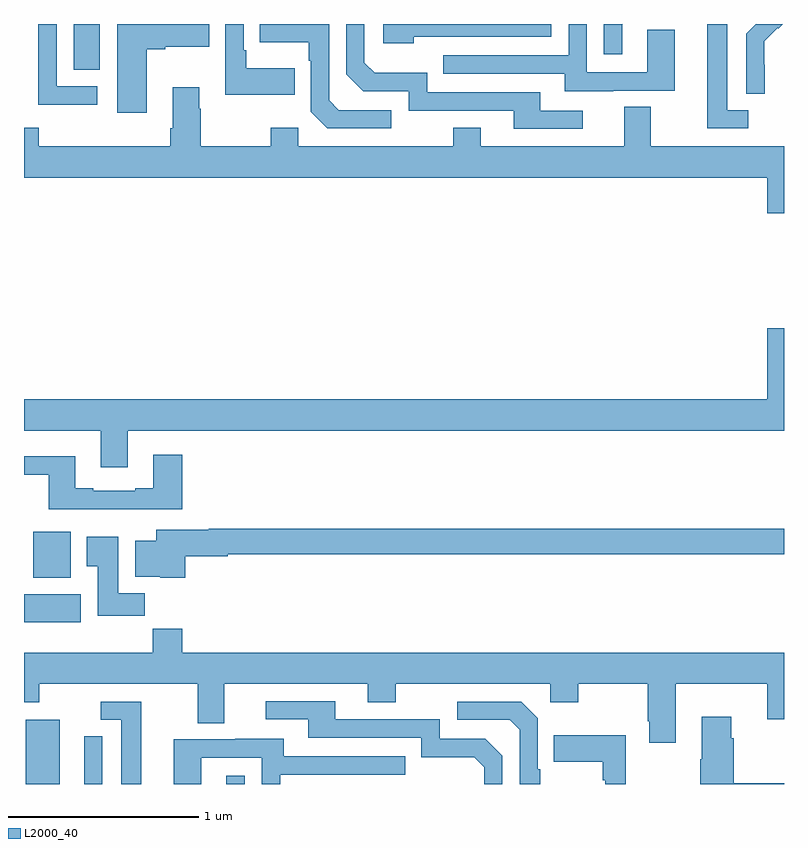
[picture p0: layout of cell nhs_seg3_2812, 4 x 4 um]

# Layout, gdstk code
import gdstk
lib = gdstk.Library(unit=1e-6, precision=1e-09)
def R(c, l, rs):  # rectangles x0, y0, x1, y1
    for r in rs: c.add(gdstk.rectangle(r[:2], r[2:], *l))
def P(c, l, *ps):  # polygons
    for p in ps: c.add(gdstk.Polygon(p, *l))
L2000_40 = (2000, 40)

nhs_seg3_2812 = lib.new_cell('nhs_seg3_2812')
R(nhs_seg3_2812, L2000_40, [(257.009,688.4,257.188,688.738), (258.065,688.4,258.162,688.444), (257,689.252,257.299,689.398), (257.048,689.486,257.245,689.728), (257.261,692.158,257.398,692.4)])
P(nhs_seg3_2812, L2000_40, [(260.812,691.947),(260.701,691.947),(260.701,692.4),(260.597,692.4),(260.597,691.851),(260.812,691.851)],
  [(260.149,692.397),(260.152,692.4),(260.052,692.4),(260.052,692.241),(260.149,692.241)],
  [(260.101,692.049),(260.425,692.049),(260.425,692.369),(260.28,692.369),(260.28,692.145),(259.962,692.145),(259.962,692.4),(259.866,692.4),(259.866,692.235),(259.207,692.235),(259.207,692.139),(259.847,692.139),(259.847,692.045),(260.101,692.045)],
  [(258.425,692.167),(258.169,692.167),(258.169,692.263),(258.156,692.263),(258.156,692.4),(258.06,692.4),(258.06,692.027),(258.425,692.027)],
  [(259.942,691.944),(259.717,691.944),(259.717,692.04),(259.122,692.04),(259.122,692.143),(258.845,692.143),(258.792,692.196),(258.792,692.4),(258.696,692.4),(258.696,692.136),(258.786,692.046),(259.026,692.046),(259.026,691.944),(259.577,691.944),(259.577,691.848),(259.942,691.848)],
  [(258.934,691.947),(258.657,691.947),(258.606,691.998),(258.606,692.4),(258.241,692.4),(258.241,692.303),(258.498,692.303),(258.498,692.207),(258.51,692.207),(258.51,691.938),(258.597,691.851),(258.934,691.851)],
  [(257.647,692.267),(257.743,692.267),(257.743,692.279),(257.974,692.279),(257.974,692.4),(257.492,692.4),(257.492,691.932),(257.647,691.932)],
  [(260.898,692.186),(260.897,692.186),(260.897,692.309),(260.967,692.379),(260.97,692.376),(260.994,692.4),(260.852,692.4),(260.802,692.35),(260.802,692.032),(260.898,692.032)],
  [(257.386,692.073),(257.172,692.073),(257.172,692.4),(257.076,692.4),(257.076,691.975),(257.386,691.975)],
  [(259.052,692.334),(259.776,692.334),(259.776,692.4),(258.891,692.4),(258.891,692.3),(259.052,692.3)],
  [(261,691.756),(260.299,691.756),(260.299,691.964),(260.159,691.964),(260.159,691.756),(259.405,691.756),(259.405,691.855),(259.258,691.855),(259.258,691.756),(258.444,691.756),(258.444,691.855),(258.298,691.855),(258.298,691.756),(257.931,691.756),(257.931,691.955),(257.923,691.955),(257.923,692.068),(257.783,692.068),(257.783,691.852),(257.771,691.852),(257.771,691.756),(257.078,691.756),(257.078,691.855),(257,691.855),(257,691.592),(260.912,691.592),(260.912,691.404),(261,691.404)],
  [(257.545,690.26),(261,690.26),(261,690.799),(260.912,690.799),(260.912,690.424),(257,690.424),(257,690.26),(257.405,690.26),(257.405,690.066),(257.545,690.066)],
  [(257.834,690.133),(257.681,690.133),(257.681,689.956),(257.585,689.956),(257.585,689.943),(257.365,689.943),(257.365,689.956),(257.269,689.956),(257.269,690.124),(257,690.124),(257,690.027),(257.129,690.027),(257.129,689.846),(257.834,689.846)],
  [(257.849,689.6),(258.072,689.6),(258.072,689.608),(261,689.608),(261,689.744),(257.972,689.744),(257.972,689.737),(257.696,689.737),(257.696,689.68),(257.585,689.68),(257.585,689.492),(257.718,689.492),(257.718,689.486),(257.849,689.486)],
  [(257.636,689.404),(257.497,689.404),(257.497,689.701),(257.33,689.701),(257.33,689.545),(257.387,689.545),(257.387,689.286),(257.636,689.286)],
  [(260.431,688.928),(260.912,688.928),(260.912,688.74),(261,688.74),(261,689.092),(257.834,689.092),(257.834,689.216),(257.677,689.216),(257.677,689.092),(257,689.092),(257,688.829),(257.079,688.829),(257.079,688.928),(257.915,688.928),(257.915,688.72),(258.055,688.72),(258.055,688.928),(258.809,688.928),(258.809,688.829),(258.957,688.829),(258.957,688.928),(259.77,688.928),(259.77,688.829),(259.916,688.829),(259.916,688.928),(260.284,688.928),(260.284,688.729),(260.291,688.729),(260.291,688.617),(260.431,688.617)],
  [(259.518,688.548),(259.428,688.638),(259.188,688.638),(259.188,688.74),(258.637,688.74),(258.637,688.836),(258.273,688.836),(258.273,688.74),(258.497,688.74),(258.497,688.644),(259.092,688.644),(259.092,688.541),(259.369,688.541),(259.422,688.488),(259.422,688.4),(259.518,688.4)],
  [(259.717,688.477),(259.704,688.477),(259.704,688.746),(259.617,688.833),(259.281,688.833),(259.281,688.737),(259.557,688.737),(259.608,688.686),(259.608,688.4),(259.717,688.4)],
  [(257.617,688.833),(257.403,688.833),(257.403,688.737),(257.513,688.737),(257.513,688.4),(257.617,688.4)],
  [(261,688.405),(260.735,688.405),(260.735,688.64),(260.722,688.64),(260.722,688.753),(260.567,688.753),(260.567,688.529),(260.56,688.529),(260.56,688.4),(261,688.4)],
  [(260.166,688.657),(259.789,688.657),(259.789,688.517),(260.046,688.517),(260.046,688.421),(260.058,688.421),(260.058,688.4),(260.166,688.4)],
  [(257.412,688.652),(257.316,688.652),(257.316,688.498),(257.318,688.498),(257.318,688.4),(257.412,688.4)],
  [(257.934,688.539),(258.252,688.539),(258.252,688.4),(258.348,688.4),(258.348,688.449),(259.007,688.449),(259.007,688.545),(258.367,688.545),(258.367,688.639),(258.113,688.639),(258.113,688.635),(257.789,688.635),(257.789,688.4),(257.934,688.4)])

lib.write_gds('nhs_seg3_2812.gds')
